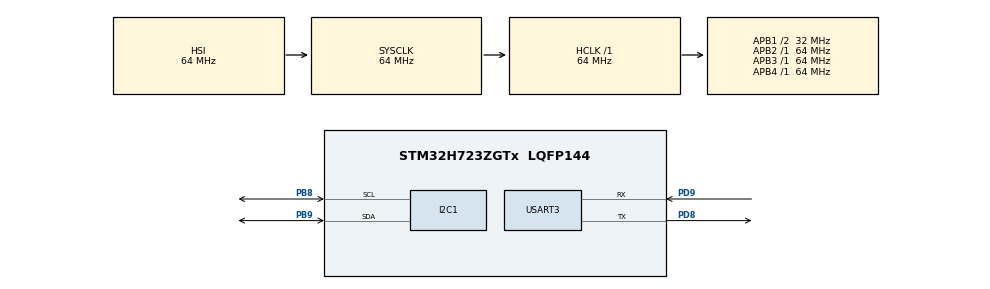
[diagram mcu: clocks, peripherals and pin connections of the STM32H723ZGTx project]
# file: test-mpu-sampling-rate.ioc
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CORTEX_M7.default_mode_Activation=1
I2C1.Timing=0x00707CBB
Mcu.Family=STM32H7
Mcu.Name=STM32H723ZGTx
Mcu.Package=LQFP144
NVIC.I2C1_ER_IRQn=true\:0\:0\:false\:false\:true\:true\:true\:true
NVIC.I2C1_EV_IRQn=true\:0\:0\:false\:false\:true\:true\:true\:true
NVIC.PriorityGroup=NVIC_PRIORITYGROUP_4
PB8.GPIO_Pu=GPIO_PULLUP
PB8.GPIO_Speed=GPIO_SPEED_FREQ_VERY_HIGH
PB8.Mode=I2C
PB8.Signal=I2C1_SCL
PB9.GPIO_Pu=GPIO_PULLUP
PB9.GPIO_Speed=GPIO_SPEED_FREQ_VERY_HIGH
PB9.Mode=I2C
PB9.Signal=I2C1_SDA
PD8.Mode=Asynchronous
PD8.Signal=USART3_TX
PD9.Mode=Asynchronous
PD9.Signal=USART3_RX
ProjectManager.HeapSize=0x200
ProjectManager.StackSize=0x400
ProjectManager.TargetToolchain=STM32CubeIDE
RCC.ADCFreq_Value=129000000
RCC.APB1Freq_Value=32000000
RCC.APB2Freq_Value=64000000
RCC.APB3Freq_Value=64000000
RCC.APB4Freq_Value=64000000
RCC.CortexFreq_Value=64000000
RCC.D2PPRE1=RCC_APB1_DIV2
RCC.HCLKFreq_Value=64000000
RCC.SYSCLKFreq_VALUE=64000000
RCC.USBFreq_Value=129000000
USART3.VirtualMode-Asynchronous=VM_ASYNC
VP_MEMORYMAP_VS_MEMORYMAP.Mode=CurAppReg
VP_TIM1_VS_ClockSourceINT.Mode=Internal
board=custom

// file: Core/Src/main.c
/* USER CODE BEGIN Header */
/**
  ******************************************************************************
  * @file           : main.c
  * @brief          : Main program body
  ******************************************************************************
  * @attention
  *
  * Copyright (c) 2024 STMicroelectronics.
  * All rights reserved.
  *
  * This software is licensed under terms that can be found in the LICENSE file
  * in the root directory of this software component.
  * If no LICENSE file comes with this software, it is provided AS-IS.
  *
  ******************************************************************************
  */
/* USER CODE END Header */
#include "main.h"
#include<string.h>
#include<stdio.h>
#include<mpu_6050.h>

I2C_HandleTypeDef hi2c1;

TIM_HandleTypeDef htim1;

UART_HandleTypeDef huart3;

void SystemClock_Config(void);
static void MPU_Config(void);
static void MX_GPIO_Init(void);
static void MX_I2C1_Init(void);
static void MX_TIM1_Init(void);
static void MX_USART3_UART_Init(void);

/* USER CODE BEGIN 0 */

const int timer_prescaler = 99;
int timer_count = 0;
uint8_t is_data_ready = 0;
uint16_t dev_address = 0x68 << 1;

/* USER CODE END 0 */

int main(void)
{

  /* MPU Configuration--------------------------------------------------------*/
  MPU_Config();

  /* MCU Configuration--------------------------------------------------------*/

  /* Reset of all peripherals, Initializes the Flash interface and the Systick. */
  HAL_Init();

  /* Configure the system clock */
  SystemClock_Config();

  /* Initialize all configured peripherals */
  MX_GPIO_Init();
  MX_I2C1_Init();
  MX_TIM1_Init();
  MX_USART3_UART_Init();
  /* USER CODE BEGIN 2 */

  HAL_UART_Transmit(&huart3, (uint8_t*)"USART initialized\n", strlen("USART initialized\n"), HAL_MAX_DELAY);

  // initialize the MPU 6050
  /* MPU6050 Initialization sequence is as follows
   * 1. Setup the power management bits. Wake it up from sleep
   * 2. Set configuration bits. DLPF is set in this register
   * 3. Set SMPLRT_DIV bits. This is used to set the sampling rate
   * 4. Set INT_EN bit. This is used to set the interrupt enable bit
   * 5. Set INT_PIN_CFG bits. This is used to configure the interrupt pin itself.
   */

  uint8_t reg_value = 0;
  HAL_I2C_Mem_Read_IT(&hi2c1, dev_address, MPU6050_POWER_MGMT_REG, 1, &reg_value, 1);
  HAL_Delay(5);
  uint8_t value2write = 0b00000001;
  HAL_I2C_Mem_Write_IT(&hi2c1, dev_address, MPU6050_POWER_MGMT_REG, 1, &value2write, 1);
  HAL_Delay(5);
//  HAL_I2C_Mem_Read_IT(&hi2c1, dev_address, MPU6050_POWER_MGMT_REG, 1, &reg_value, 1);
//  HAL_Delay(5);

  value2write = 1;
  HAL_I2C_Mem_Write_IT(&hi2c1, dev_address, MPU6050_CONFIG_REG, 1, &value2write, 1);
  HAL_Delay(5);

  value2write = 4;
  HAL_I2C_Mem_Write_IT(&hi2c1, dev_address, MPU6050_SMPLRT_DIV_REG, 1, &value2write, 1);
  HAL_Delay(5);

  value2write = 0b10100000;
  HAL_I2C_Mem_Write_IT(&hi2c1, dev_address, MPU6050_INT_PIN_CFG_REG, 1, &value2write, 1);
  HAL_Delay(5);

  value2write = 1;
  HAL_I2C_Mem_Write_IT(&hi2c1, dev_address, MPU6050_INT_EN_REG, 1, &value2write, 1);
  HAL_Delay(5);

//  HAL_I2C_Mem_Write_IT(&hi2c1, 0x21<<1, 0x33, 1, "Hear", strlen("Hear"));
//  HAL_Delay(5);
//  HAL_I2C_Mem_Read_IT(&hi2c1, dev_address, MPU6050_INT_EN_REG, 1, &reg_value, 1);
//  HAL_Delay(5);

  // Read the interrupt register of MPU6050 once
	HAL_I2C_Mem_Read_IT(&hi2c1, dev_address, MPU6050_INT_STATUS_REG, 1, &reg_value, 1);
	HAL_Delay(10);

  //HAL_Delay(2000);
  uint8_t gyrox_low, gyroy_low;
  //read_from_register(hi2c1, 0x44, &gyrox_low);
  //read_from_register(hi2c1, 0x45, &gyroy_low);

  //HAL_UART_Transmit(&huart3, (uint8_t*)gyroy_low, strlen(gyroy_low), HAL_MAX_DELAY);

  /* USER CODE END 2 */

  /* Infinite loop */
  /* USER CODE BEGIN WHILE */

  // Start the timer
  HAL_TIM_Base_Start(&htim1);

  int nor;
  nor = 1;
  while (1)
  {
    /* USER CODE END WHILE */
	  char counter_value[5];
	  //read_from_register(hi2c1, 0x45, &gyroy_low);
	  //sprintf(counter_value, "%lu\n", (timer_count*(timer_prescaler+1)/64000));
	  //HAL_UART_Transmit(&huart3, (uint8_t*)counter_value, strlen(counter_value), HAL_MAX_DELAY);
	  //HAL_UART_Transmit(&huart3, (uint8_t*)gyroy_low, strlen(gyroy_low), HAL_MAX_DELAY);

	  //HAL_Delay(0.01);
    /* USER CODE BEGIN 3 */

	  if(is_data_ready == 1){
		  data_ready_handler();
		  is_data_ready = 0;

		  sprintf(counter_value, "%lu\n", (timer_count*(timer_prescaler+1)/64000));
		  //sprintf(counter_value, "%d \n", timer_count);
		  HAL_UART_Transmit(&huart3, (uint8_t*)counter_value, strlen(counter_value), HAL_MAX_DELAY);
	  }
  }
  /* USER CODE END 3 */
}

void SystemClock_Config(void)
{
  RCC_OscInitTypeDef RCC_OscInitStruct = {0};
  RCC_ClkInitTypeDef RCC_ClkInitStruct = {0};

  /** Supply configuration update enable
  */
  HAL_PWREx_ConfigSupply(PWR_LDO_SUPPLY);

  /** Configure the main internal regulator output voltage
  */
  __HAL_PWR_VOLTAGESCALING_CONFIG(PWR_REGULATOR_VOLTAGE_SCALE3);

  while(!__HAL_PWR_GET_FLAG(PWR_FLAG_VOSRDY)) {}

  /** Initializes the RCC Oscillators according to the specified parameters
  * in the RCC_OscInitTypeDef structure.
  */
  RCC_OscInitStruct.OscillatorType = RCC_OSCILLATORTYPE_HSI;
  RCC_OscInitStruct.HSIState = RCC_HSI_DIV1;
  RCC_OscInitStruct.HSICalibrationValue = 64;
  RCC_OscInitStruct.PLL.PLLState = RCC_PLL_NONE;
  if (HAL_RCC_OscConfig(&RCC_OscInitStruct) != HAL_OK)
  {
    Error_Handler();
  }

  /** Initializes the CPU, AHB and APB buses clocks
  */
  RCC_ClkInitStruct.ClockType = RCC_CLOCKTYPE_HCLK|RCC_CLOCKTYPE_SYSCLK
                              |RCC_CLOCKTYPE_PCLK1|RCC_CLOCKTYPE_PCLK2
                              |RCC_CLOCKTYPE_D3PCLK1|RCC_CLOCKTYPE_D1PCLK1;
  RCC_ClkInitStruct.SYSCLKSource = RCC_SYSCLKSOURCE_HSI;
  RCC_ClkInitStruct.SYSCLKDivider = RCC_SYSCLK_DIV1;
  RCC_ClkInitStruct.AHBCLKDivider = RCC_HCLK_DIV1;
  RCC_ClkInitStruct.APB3CLKDivider = RCC_APB3_DIV1;
  RCC_ClkInitStruct.APB1CLKDivider = RCC_APB1_DIV2;
  RCC_ClkInitStruct.APB2CLKDivider = RCC_APB2_DIV1;
  RCC_ClkInitStruct.APB4CLKDivider = RCC_APB4_DIV1;

  if (HAL_RCC_ClockConfig(&RCC_ClkInitStruct, FLASH_LATENCY_1) != HAL_OK)
  {
    Error_Handler();
  }
}

static void MX_I2C1_Init(void)
{

  hi2c1.Instance = I2C1;
  hi2c1.Init.Timing = 0x00707CBB;
  hi2c1.Init.OwnAddress1 = 0;
  hi2c1.Init.AddressingMode = I2C_ADDRESSINGMODE_7BIT;
  hi2c1.Init.DualAddressMode = I2C_DUALADDRESS_DISABLE;
  hi2c1.Init.OwnAddress2 = 0;
  hi2c1.Init.OwnAddress2Masks = I2C_OA2_NOMASK;
  hi2c1.Init.GeneralCallMode = I2C_GENERALCALL_DISABLE;
  hi2c1.Init.NoStretchMode = I2C_NOSTRETCH_DISABLE;
  if (HAL_I2C_Init(&hi2c1) != HAL_OK)
  {
    Error_Handler();
  }

  /** Configure Analogue filter
  */
  if (HAL_I2CEx_ConfigAnalogFilter(&hi2c1, I2C_ANALOGFILTER_ENABLE) != HAL_OK)
  {
    Error_Handler();
  }

  /** Configure Digital filter
  */
  if (HAL_I2CEx_ConfigDigitalFilter(&hi2c1, 0) != HAL_OK)
  {
    Error_Handler();
  }

}

static void MX_TIM1_Init(void)
{

  htim1.Instance = TIM1;
  htim1.Init.Prescaler = timer_prescaler;
  htim1.Init.CounterMode = TIM_COUNTERMODE_UP;
  htim1.Init.Period = 65535;
  htim1.Init.ClockDivision = TIM_CLOCKDIVISION_DIV1;
  htim1.Init.RepetitionCounter = 0;
  htim1.Init.AutoReloadPreload = TIM_AUTORELOAD_PRELOAD_DISABLE;
  if (HAL_TIM_Base_Init(&htim1) != HAL_OK)
  {
    Error_Handler();
  }

}

/* Interrupt Handler for EXTI line 0 (PA0) */
void EXTI0_IRQHandler(void) {
  /* Handle the interrupt */
  HAL_GPIO_EXTI_IRQHandler(GPIO_PIN_0);
}

/* This function is called inside the HAL library when an EXTI event occurs */
void HAL_GPIO_EXTI_Callback(uint16_t GPIO_Pin) {

	is_data_ready = 1;
//  if (GPIO_Pin == GPIO_PIN_0) {
//    // Handle the interrupt here (e.g., toggle an LED)
//    HAL_GPIO_TogglePin(GPIOB, GPIO_PIN_0);  // Example: Toggle an LED on PB0
//  }
}

static void MX_USART3_UART_Init(void)
{

  huart3.Instance = USART3;
  huart3.Init.BaudRate = 9600;
  huart3.Init.WordLength = UART_WORDLENGTH_8B;
  huart3.Init.StopBits = UART_STOPBITS_1;
  huart3.Init.Parity = UART_PARITY_NONE;
  huart3.Init.Mode = UART_MODE_TX_RX;
  huart3.Init.HwFlowCtl = UART_HWCONTROL_NONE;
  huart3.Init.OverSampling = UART_OVERSAMPLING_16;
  if (HAL_UART_Init(&huart3) != HAL_OK)
  {
    Error_Handler();
  }

}

static void MX_GPIO_Init(void)
{

  /* GPIO Ports Clock Enable */
  __HAL_RCC_GPIOB_CLK_ENABLE();
  __HAL_RCC_GPIOA_CLK_ENABLE();

  /* USER CODE BEGIN MX_GPIO_Init_2 */
  /* setup the GPIO interrupt */
  /* Configure GPIO pin PA0 as input with external interrupt (falling edge) */
  GPIO_InitTypeDef GPIO_InitStruct = {0};
  GPIO_InitStruct.Pin = GPIO_PIN_0;             // Pin PA0
  GPIO_InitStruct.Mode = GPIO_MODE_IT_FALLING;  // Interrupt on falling edge
  GPIO_InitStruct.Pull = GPIO_PULLUP;           // No pull-up/pull-down
  HAL_GPIO_Init(GPIOA, &GPIO_InitStruct);

  /* Enable and set EXTI line 0 Interrupt in the NVIC (PA0 is connected to EXTI0) */
  HAL_NVIC_SetPriority(EXTI0_IRQn, 2, 0);
  HAL_NVIC_EnableIRQ(EXTI0_IRQn);

  /* Configure GPIO pin PB0 as output for the LED */
  GPIO_InitStruct.Pin = GPIO_PIN_0;             // Pin PB0
  GPIO_InitStruct.Mode = GPIO_MODE_OUTPUT_PP;   // Output push-pull mode
  GPIO_InitStruct.Pull = GPIO_NOPULL;           // No pull-up/pull-down
  GPIO_InitStruct.Speed = GPIO_SPEED_FREQ_LOW;  // Low frequency
  HAL_GPIO_Init(GPIOB, &GPIO_InitStruct);

/* USER CODE END MX_GPIO_Init_2 */
}

 /* MPU Configuration */

void MPU_Config(void)
{
  MPU_Region_InitTypeDef MPU_InitStruct = {0};

  /* Disables the MPU */
  HAL_MPU_Disable();

  /** Initializes and configures the Region and the memory to be protected
  */
  MPU_InitStruct.Enable = MPU_REGION_ENABLE;
  MPU_InitStruct.Number = MPU_REGION_NUMBER0;
  MPU_InitStruct.BaseAddress = 0x0;
  MPU_InitStruct.Size = MPU_REGION_SIZE_4GB;
  MPU_InitStruct.SubRegionDisable = 0x87;
  MPU_InitStruct.TypeExtField = MPU_TEX_LEVEL0;
  MPU_InitStruct.AccessPermission = MPU_REGION_NO_ACCESS;
  MPU_InitStruct.DisableExec = MPU_INSTRUCTION_ACCESS_DISABLE;
  MPU_InitStruct.IsShareable = MPU_ACCESS_SHAREABLE;
  MPU_InitStruct.IsCacheable = MPU_ACCESS_NOT_CACHEABLE;
  MPU_InitStruct.IsBufferable = MPU_ACCESS_NOT_BUFFERABLE;

  HAL_MPU_ConfigRegion(&MPU_InitStruct);
  /* Enables the MPU */
  HAL_MPU_Enable(MPU_PRIVILEGED_DEFAULT);

}

void data_ready_handler(){
	// read the data from the registers
	timer_count = htim1.Instance->CNT;
	htim1.Instance->CNT = 0;
	//set_sampling_rate(&hi2c1, 20);
	uint8_t int_status;
	HAL_I2C_Mem_Read_IT(&hi2c1, dev_address, MPU6050_INT_STATUS_REG, 1, &int_status, 1);
	HAL_Delay(1);

  //HAL_I2C_Mem_Write_IT(&hi2c1, 0x21<<1, 0x33, 1, "interrupted", strlen("interrupted"));
  //HAL_Delay(5);

	// clear the data ready register in the MPU6050
}

void Error_Handler(void)
{
  /* USER CODE BEGIN Error_Handler_Debug */
  /* User can add his own implementation to report the HAL error return state */
	HAL_UART_Transmit(&huart3, (uint8_t*)("Error Occurred"), strlen("Error Occurred"), HAL_MAX_DELAY);
  __disable_irq();
  while (1)
  {
  }
  /* USER CODE END Error_Handler_Debug */
}
